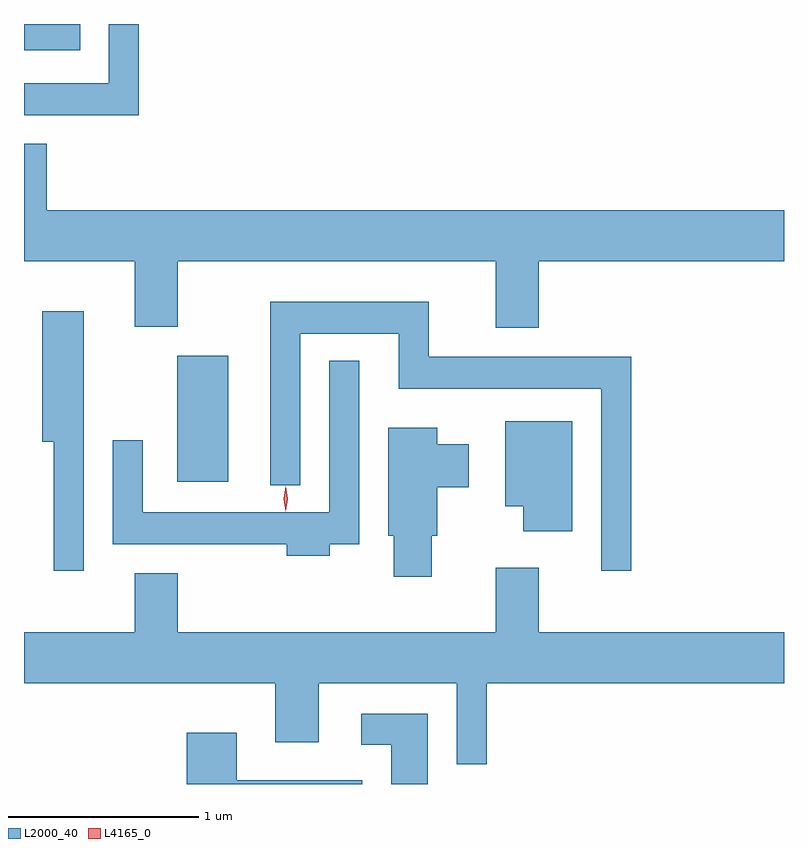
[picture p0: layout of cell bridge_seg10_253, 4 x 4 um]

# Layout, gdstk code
import gdstk
lib = gdstk.Library(unit=1e-6, precision=1e-09)
def R(c, l, rs):  # rectangles x0, y0, x1, y1
    for r in rs: c.add(gdstk.rectangle(r[:2], r[2:], *l))
def P(c, l, *ps):  # polygons
    for p in ps: c.add(gdstk.Polygon(p, *l))
L2000_40 = (2000, 40)
L4165_0 = (4165, 0)

bridge_seg10_253 = lib.new_cell('bridge_seg10_253')
R(bridge_seg10_253, L2000_40, [(1825.506,2099.436,1825.774,2100.099), (1824.699,2101.706,1824.994,2101.845)])
P(bridge_seg10_253, L2000_40, [(1825.304,2101.845),(1825.146,2101.845),(1825.146,2101.534),(1824.699,2101.534),(1824.699,2101.366),(1825.304,2101.366)],
  [(1827.409,2100.596),(1828.699,2100.596),(1828.699,2100.864),(1824.819,2100.864),(1824.819,2101.214),(1824.699,2101.214),(1824.699,2100.596),(1825.281,2100.596),(1825.281,2100.251),(1825.509,2100.251),(1825.509,2100.596),(1827.181,2100.596),(1827.181,2100.246),(1827.409,2100.246)],
  [(1827.894,2100.094),(1826.829,2100.094),(1826.829,2100.384),(1825.996,2100.384),(1825.996,2099.418),(1826.154,2099.418),(1826.154,2100.216),(1826.671,2100.216),(1826.671,2099.926),(1827.736,2099.926),(1827.736,2098.968),(1827.894,2098.968)],
  [(1825.014,2100.334),(1824.796,2100.334),(1824.796,2099.646),(1824.856,2099.646),(1824.856,2098.968),(1825.014,2098.968)],
  [(1826.309,2099.106),(1826.464,2099.106),(1826.464,2100.073),(1826.306,2100.073),(1826.306,2099.274),(1825.324,2099.274),(1825.324,2099.653),(1825.166,2099.653),(1825.166,2099.106),(1826.081,2099.106),(1826.081,2099.046),(1826.309,2099.046)],
  [(1827.584,2099.754),(1827.231,2099.754),(1827.231,2099.306),(1827.326,2099.306),(1827.326,2099.176),(1827.584,2099.176)],
  [(1826.844,2099.151),(1826.874,2099.151),(1826.874,2099.406),(1827.039,2099.406),(1827.039,2099.634),(1826.874,2099.634),(1826.874,2099.719),(1826.616,2099.719),(1826.616,2099.151),(1826.646,2099.151),(1826.646,2098.936),(1826.844,2098.936)],
  [(1827.134,2098.376),(1828.699,2098.376),(1828.699,2098.644),(1827.409,2098.644),(1827.409,2098.984),(1827.181,2098.984),(1827.181,2098.644),(1825.509,2098.644),(1825.509,2098.954),(1825.281,2098.954),(1825.281,2098.644),(1824.699,2098.644),(1824.699,2098.376),(1826.021,2098.376),(1826.021,2098.066),(1826.249,2098.066),(1826.249,2098.376),(1826.976,2098.376),(1826.976,2097.948),(1827.134,2097.948)],
  [(1826.824,2098.214),(1826.473,2098.214),(1826.473,2098.051),(1826.631,2098.051),(1826.631,2097.845),(1826.824,2097.845)],
  [(1826.479,2097.864),(1825.819,2097.864),(1825.819,2098.114),(1825.556,2098.114),(1825.556,2097.845),(1826.479,2097.845)])
P(bridge_seg10_253, L4165_0, [(1826.076,2099.28),(1826.076,2099.28),(1826.066,2099.346),(1826.076,2099.412),(1826.076,2099.413),(1826.076,2099.412),(1826.086,2099.346),(1826.077,2099.28)])

lib.write_gds('bridge_seg10_253.gds')
